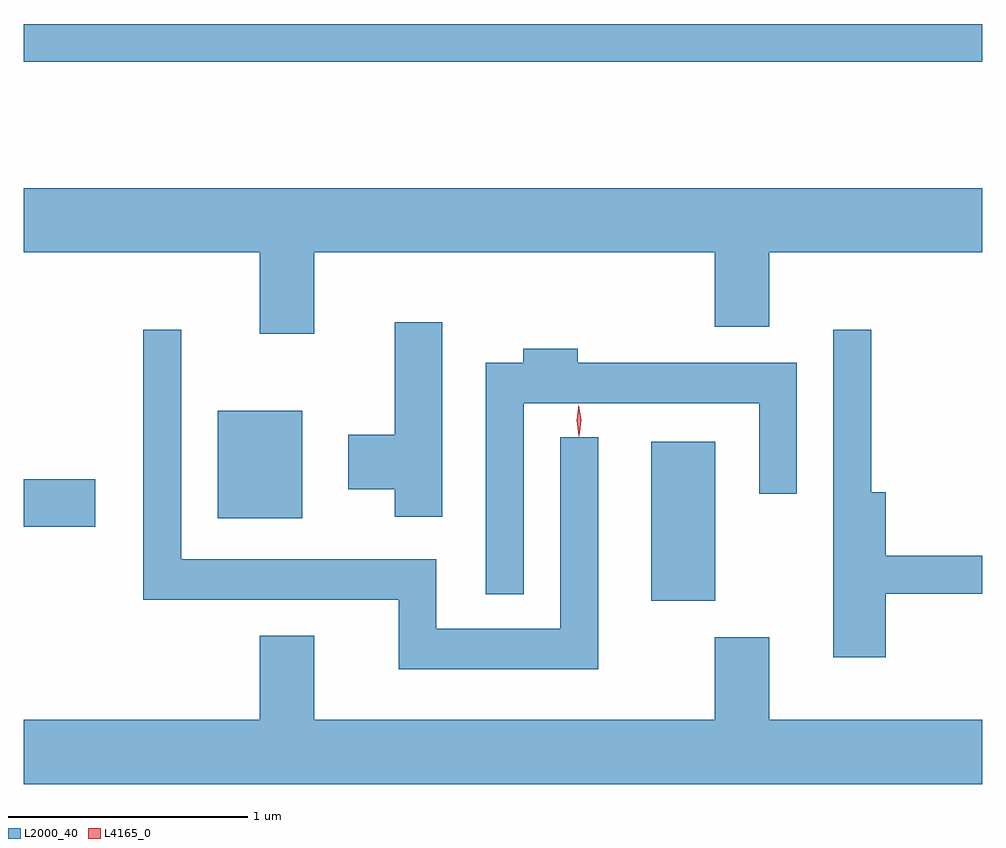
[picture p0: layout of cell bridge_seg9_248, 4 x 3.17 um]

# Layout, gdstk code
import gdstk
lib = gdstk.Library(unit=1e-6, precision=1e-09)
def R(c, l, rs):  # rectangles x0, y0, x1, y1
    for r in rs: c.add(gdstk.rectangle(r[:2], r[2:], *l))
def P(c, l, *ps):  # polygons
    for p in ps: c.add(gdstk.Polygon(p, *l))
L2000_40 = (2000, 40)
L4165_0 = (4165, 0)

bridge_seg9_248 = lib.new_cell('bridge_seg9_248')
R(bridge_seg9_248, L2000_40, [(1481.396,1994.801,1481.664,1995.464), (1478.777,1995.111,1479.074,1995.309), (1479.586,1995.146,1479.939,1995.594), (1478.777,1997.051,1482.777,1997.209)])
P(bridge_seg9_248, L2000_40, [(1479.989,1996.256),(1481.661,1996.256),(1481.661,1995.946),(1481.889,1995.946),(1481.889,1996.256),(1482.777,1996.256),(1482.777,1996.524),(1478.777,1996.524),(1478.777,1996.256),(1479.761,1996.256),(1479.761,1995.916),(1479.989,1995.916)],
  [(1480.524,1995.964),(1480.326,1995.964),(1480.326,1995.494),(1480.131,1995.494),(1480.131,1995.266),(1480.326,1995.266),(1480.326,1995.151),(1480.524,1995.151)],
  [(1482.374,1994.831),(1482.777,1994.831),(1482.777,1994.989),(1482.374,1994.989),(1482.374,1995.254),(1482.314,1995.254),(1482.314,1995.933),(1482.156,1995.933),(1482.156,1994.566),(1482.374,1994.566)],
  [(1481.174,1995.483),(1481.016,1995.483),(1481.016,1994.684),(1480.499,1994.684),(1480.499,1994.974),(1479.434,1994.974),(1479.434,1995.933),(1479.276,1995.933),(1479.276,1994.806),(1480.341,1994.806),(1480.341,1994.516),(1481.174,1994.516)],
  [(1480.864,1995.626),(1481.846,1995.626),(1481.846,1995.248),(1482.004,1995.248),(1482.004,1995.794),(1481.089,1995.794),(1481.089,1995.854),(1480.861,1995.854),(1480.861,1995.794),(1480.706,1995.794),(1480.706,1994.828),(1480.864,1994.828)],
  [(1482.777,1994.304),(1481.889,1994.304),(1481.889,1994.649),(1481.661,1994.649),(1481.661,1994.304),(1479.989,1994.304),(1479.989,1994.654),(1479.761,1994.654),(1479.761,1994.304),(1478.777,1994.304),(1478.777,1994.036),(1482.777,1994.036)])
P(bridge_seg9_248, L4165_0, [(1481.094,1995.487),(1481.094,1995.487),(1481.084,1995.554),(1481.093,1995.62),(1481.094,1995.62),(1481.094,1995.62),(1481.104,1995.554),(1481.095,1995.487)])

lib.write_gds('bridge_seg9_248.gds')
